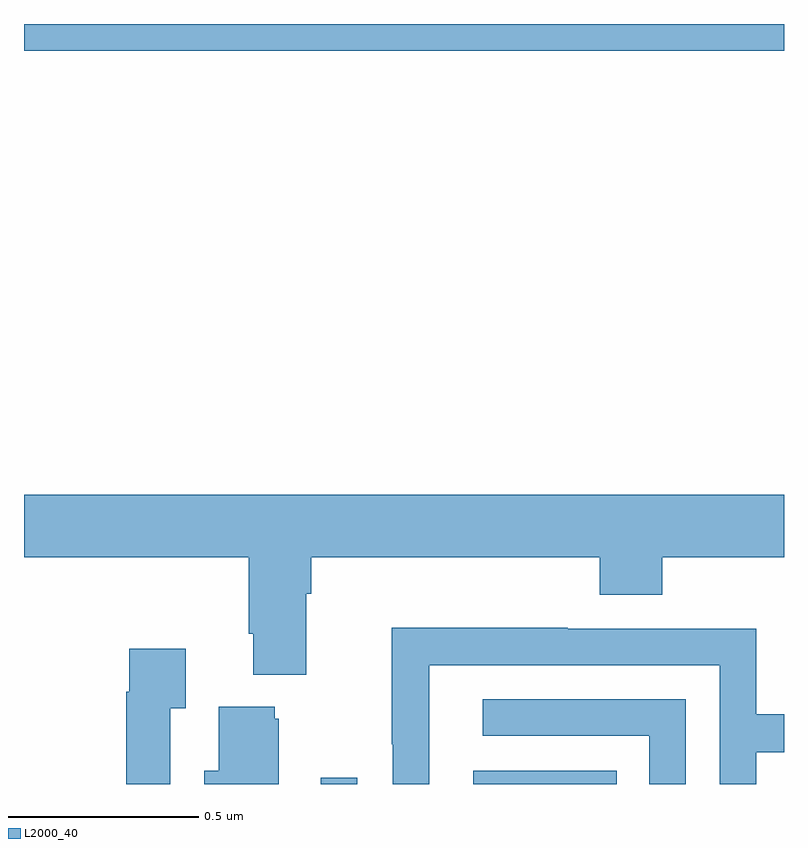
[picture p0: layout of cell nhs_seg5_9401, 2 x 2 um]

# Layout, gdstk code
import gdstk
lib = gdstk.Library(unit=1e-6, precision=1e-09)
def R(c, l, rs):  # rectangles x0, y0, x1, y1
    for r in rs: c.add(gdstk.rectangle(r[:2], r[2:], *l))
def P(c, l, *ps):  # polygons
    for p in ps: c.add(gdstk.Polygon(p, *l))
L2000_40 = (2000, 40)

nhs_seg5_9401 = lib.new_cell('nhs_seg5_9401')
R(nhs_seg5_9401, L2000_40, [(233.781,886.799,233.877,886.816), (234.182,886.799,234.56,886.834), (233,888.728,235,888.799)])
P(nhs_seg5_9401, L2000_40, [(233.743,887.3),(233.756,887.3),(233.756,887.396),(234.515,887.396),(234.515,887.297),(234.68,887.297),(234.68,887.396),(235,887.396),(235,887.56),(233,887.56),(233,887.396),(233.591,887.396),(233.591,887.194),(233.603,887.194),(233.603,887.087),(233.743,887.087)],
  [(234.066,887.112),(234.831,887.112),(234.831,886.799),(234.927,886.799),(234.927,886.882),(235,886.882),(235,886.983),(234.927,886.983),(234.927,887.208),(234.431,887.208),(234.431,887.21),(233.968,887.21),(233.968,886.903),(233.97,886.903),(233.97,886.799),(234.066,886.799)],
  [(233.385,886.999),(233.425,886.999),(233.425,887.155),(233.277,887.155),(233.277,887.042),(233.269,887.042),(233.269,886.799),(233.385,886.799)],
  [(234.741,887.022),(234.207,887.022),(234.207,886.926),(234.645,886.926),(234.645,886.799),(234.741,886.799)],
  [(233.671,886.971),(233.66,886.971),(233.66,887.002),(233.513,887.002),(233.513,886.834),(233.474,886.834),(233.474,886.799),(233.671,886.799)])

lib.write_gds('nhs_seg5_9401.gds')
